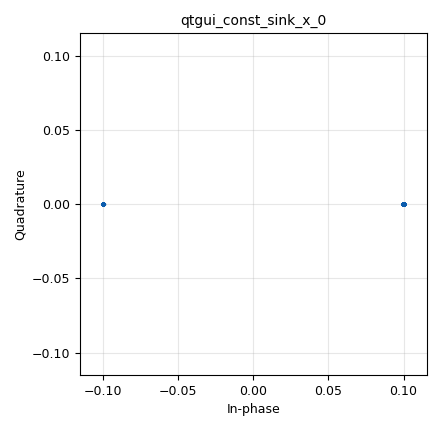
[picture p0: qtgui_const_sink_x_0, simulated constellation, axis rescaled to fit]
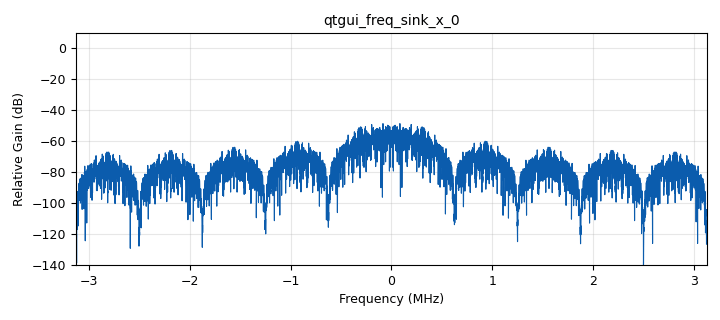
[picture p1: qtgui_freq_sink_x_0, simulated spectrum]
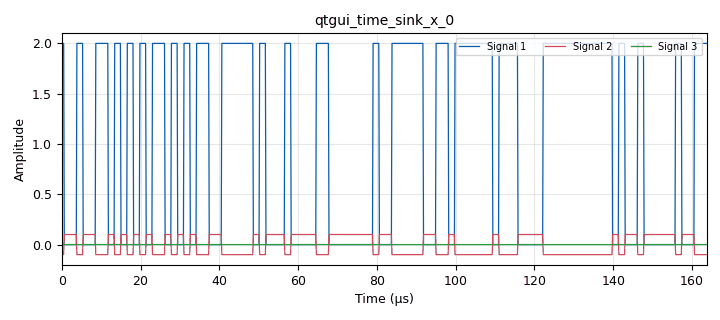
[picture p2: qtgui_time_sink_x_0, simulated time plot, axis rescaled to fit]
options:
  parameters:
    author: Barrios-Jimenez
    copyright: Uis
    generate_options: qt_gui
    id: FSK
    output_language: python
    title: FSK
  states: {}

blocks:
- name: Ac
  id: variable_qtgui_range
  parameters:
    label: Amplitud_Portadora
    start: '0'
    step: '100e-3'
    stop: '2'
    value: '100e-3'
  states: {}
- name: B
  id: variable_qtgui_range
  parameters:
    label: '#muestrasSimbolos'
    rangeType: int
    start: '1'
    step: '1'
    stop: '40'
    value: '10'
  states: {}
- name: DC
  id: variable_qtgui_range
  parameters:
    label: Nivel_Modulante
    start: '-8'
    step: '100e-3'
    stop: '8'
    value: '0'
  states: {}
- name: GTX
  id: variable_qtgui_range
  parameters:
    label: 'Ganancia transmisor '
    start: '0'
    step: '1'
    stop: '30'
    value: '0'
  states: {}
- name: 'No'
  id: variable_qtgui_range
  parameters:
    label: Amplitud del ruido
    start: '0'
    step: '100e-6'
    stop: '30e-3'
    value: '100e-6'
  states: {}
- name: fc
  id: variable_qtgui_range
  parameters:
    label: freciuencia de la portadora
    start: 50e6
    step: 1e6
    stop: 2.2e9
    value: 400e6
  states: {}
- name: kf
  id: variable_qtgui_range
  parameters:
    label: Coeficiente de sensibilidad(MHz/volt)
    start: '-2*math.pi'
    step: '1e-3'
    stop: 2*math.pi
    value: math.pi/2
  states: {}
- name: kp
  id: variable_qtgui_range
  parameters:
    label: coeficiente_sensibilida (rad/volt)
    start: '-2*math.pi'
    step: '1'
    stop: 2*math.pi
    value: math.pi/math.pow(2,n)
  states: {}
- name: n
  id: variable_qtgui_range
  parameters:
    label: '#bit por simbolo'
    rangeType: int
    start: '1'
    step: '1'
    stop: '4'
    value: '1'
  states: {}
- name: samp_rate
  id: variable
  parameters:
    value: 6.25e6
  states: {}
- name: analog_frequency_modulator_fc_0
  id: analog_frequency_modulator_fc
  parameters:
    sensitivity: kf
  states: {state: disabled}
- name: analog_noise_source_x_0
  id: analog_noise_source_x
  parameters:
    amp: 'No'
    noise_type: analog.GR_GAUSSIAN
    seed: '0'
    type: complex
  states: {}
- name: analog_phase_modulator_fc_0
  id: analog_phase_modulator_fc
  parameters:
    sensitivity: kp
  states: {}
- name: analog_random_source_x_0
  id: analog_random_source_x
  parameters:
    max: int(math.pow(2,n))
    min: '0'
    num_samps: '10000'
    repeat: 'True'
    type: byte
  states: {}
- name: blocks_add_const_vxx_0
  id: blocks_add_const_vxx
  parameters:
    const: DC
    type: float
  states: {}
- name: blocks_add_xx_0
  id: blocks_add_xx
  parameters:
    type: complex
  states: {}
- name: blocks_complex_to_float_0
  id: blocks_complex_to_float
  parameters: {}
  states: {}
- name: blocks_multiply_const_vxx_0
  id: blocks_multiply_const_vxx
  parameters:
    const: '2'
    type: float
  states: {}
- name: blocks_multiply_const_vxx_1
  id: blocks_multiply_const_vxx
  parameters:
    const: Ac
    type: complex
  states: {}
- name: blocks_repeat_0
  id: blocks_repeat
  parameters:
    interp: B
    type: float
  states: {}
- name: blocks_uchar_to_float_0
  id: blocks_uchar_to_float
  parameters: {}
  states: {}
- name: import_0
  id: import
  parameters:
    imports: import math
  states: {}
- name: qtgui_const_sink_x_0
  id: qtgui_const_sink_x
  parameters:
    size: '1024'
    type: complex
  states: {}
- name: qtgui_freq_sink_x_0
  id: qtgui_freq_sink_x
  parameters:
    bw: samp_rate
    fc: '0'
    fftsize: 1024*8
    type: complex
  states: {}
- name: qtgui_time_sink_x_0
  id: qtgui_time_sink_x
  parameters:
    nconnections: '3'
    size: '1024'
    srate: samp_rate
    type: float
  states: {}
- name: uhd_usrp_sink_0
  id: uhd_usrp_sink
  parameters:
    ant0: '"TX/RX"'
    center_freq0: fc
    gain0: GTX
    samp_rate: samp_rate
    sync: pc_clock
    type: fc32
  states: {}
- name: virtual_sink_0
  id: virtual_sink
  parameters:
    stream_id: m_t
  states: {}
- name: virtual_sink_1
  id: virtual_sink
  parameters:
    stream_id: g(t)
  states: {}
- name: virtual_source_0
  id: virtual_source
  parameters:
    stream_id: m_t
  states: {}
- name: virtual_source_1
  id: virtual_source
  parameters:
    stream_id: m_t
  states: {}
- name: virtual_source_2
  id: virtual_source
  parameters:
    stream_id: g(t)
  states: {}

connections:
- [analog_frequency_modulator_fc_0, '0', blocks_multiply_const_vxx_1, '0']
- [analog_noise_source_x_0, '0', blocks_add_xx_0, '1']
- [analog_phase_modulator_fc_0, '0', blocks_multiply_const_vxx_1, '0']
- [analog_random_source_x_0, '0', blocks_uchar_to_float_0, '0']
- [blocks_add_const_vxx_0, '0', blocks_multiply_const_vxx_0, '0']
- [blocks_add_xx_0, '0', blocks_complex_to_float_0, '0']
- [blocks_add_xx_0, '0', qtgui_const_sink_x_0, '0']
- [blocks_add_xx_0, '0', qtgui_freq_sink_x_0, '0']
- [blocks_add_xx_0, '0', uhd_usrp_sink_0, '0']
- [blocks_complex_to_float_0, '0', qtgui_time_sink_x_0, '1']
- [blocks_complex_to_float_0, '1', qtgui_time_sink_x_0, '2']
- [blocks_multiply_const_vxx_0, '0', virtual_sink_0, '0']
- [blocks_multiply_const_vxx_1, '0', virtual_sink_1, '0']
- [blocks_repeat_0, '0', blocks_add_const_vxx_0, '0']
- [blocks_uchar_to_float_0, '0', blocks_repeat_0, '0']
- [virtual_source_0, '0', analog_frequency_modulator_fc_0, '0']
- [virtual_source_0, '0', analog_phase_modulator_fc_0, '0']
- [virtual_source_1, '0', qtgui_time_sink_x_0, '0']
- [virtual_source_2, '0', blocks_add_xx_0, '0']

metadata:
  file_format: 1
